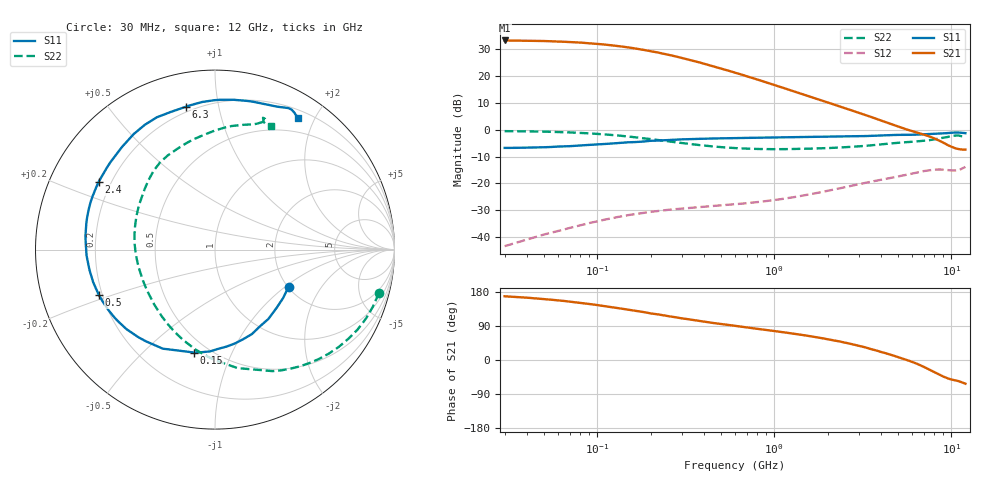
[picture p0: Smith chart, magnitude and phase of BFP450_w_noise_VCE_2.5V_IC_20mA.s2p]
! (c) 2015  Infineon Technologies AG, Munich
! Infineon Technologies  Discrete & RF Semiconductors
! BFP450
! VCE =  2.5 V,  IC =  20 mA
! Common Emitter S-Parameters:  Nov 2015
# GHz  S  MA  R  50
!  f  S11  S21  S12  S22
! GHz  MAG  ANG  MAG  ANG  MAG  ANG  MAG  ANG
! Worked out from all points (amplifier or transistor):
!   239 points, 30 MHz to 12 GHz, reference 50 ohm
!   highest |S21| = 33.3 dB at 30 MHz (marker M1)
!   |S21| within 3 dB of that: start of sweep to 164.7 MHz
!   unconditionally stable (mu >= 1): 1.656 GHz to end of sweep
!   at 300 MHz: K = 0.30, MSG = 28.0 dB, |S12| = -29.3 dB
!   at 1.88 GHz: K = 1.05, MAG = 15.6 dB, |S12| = -23.1 dB
!   at 12 GHz: K = 1.11, MAG = 1.2 dB, |S12| = -13.8 dB
!   lowest NFmin = 1.10 dB at 450 MHz
!   S11 on the Smith chart (normalised r, x): 30 MHz: 2.01, -1.06; 150 MHz: 0.42, -0.73; 500 MHz: 0.19, -0.18; 2.4 GHz: 0.15, +0.26; 6.3 GHz: 0.17, +0.80; 12 GHz: 0.30, +1.77
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0.03  0.4596 -27.0  46.13 168.1  0.0068 80.1  0.9448 -14.9
0.04  0.4658 -35.6  45.61 164.5  0.009 77.0  0.9355 -19.8
0.05  0.4728 -43.7  45.03 160.7  0.0112 72.5  0.9247 -24.6
0.065  0.4905 -56.0  43.61 155.8  0.0139 70.2  0.9015 -31.5
0.085  0.5176 -69.4  41.53 149.5  0.0174 65.1  0.8673 -40.3
0.11  0.5443 -83.3  38.71 142.3  0.0212 59.7  0.8215 -50.4
0.15  0.5852 -101.4  34.24 132.6  0.0258 52.4  0.7496 -64.6
0.175  0.5984 -109.9  31.59 128.2  0.0277 49.1  0.7051 -71.5
0.2  0.6239 -117.8  29.16 123.0  0.0296 46.2  0.6721 -79.2
0.24  0.6396 -127.0  25.9 117.4  0.0317 42.8  0.6222 -88.5
0.3  0.6632 -138.1  21.82 109.9  0.0342 39.1  0.5673 -101.1
0.34  0.6717 -143.5  19.69 106.3  0.0354 37.6  0.5395 -107.7
0.4  0.6827 -150.4  17.05 101.2  0.037 35.9  0.5089 -116.7
0.5  0.695 -158.7  13.84 94.9  0.0392 34.8  0.4756 -128.5
0.6  0.7026 -165.0  11.58 89.9  0.0411 34.5  0.4567 -137.7
0.8  0.7118 -174.1  8.63 82.2  0.045 35.3  0.4399 -151.4
1  0.7186 179.3  6.815 76.4  0.0491 36.4  0.4358 -161.3
1.64  0.7367 164.0  4.012 61.9  0.064 37.9  0.4469 177.7
2.4  0.7504 149.8  2.647 47.7  0.0827 35.2  0.4698 160.1
4.5  0.7979 119.3  1.296 14.3  0.1261 19.0  0.5565 127.9
6.3  0.812 101.6  0.901 -8.7  0.1579 3.9  0.6063 107.8
12  0.8656 57.8  0.428 -62.6  0.2036 -40.0  0.7584 65.6
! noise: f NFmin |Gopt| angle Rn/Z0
0.45  1.1  0.33  -178  0.07
0.9  1.17  0.39  -178  0.07
1.9  1.31  0.49  -163  0.07
2.4  1.45  0.52  -153  0.08
